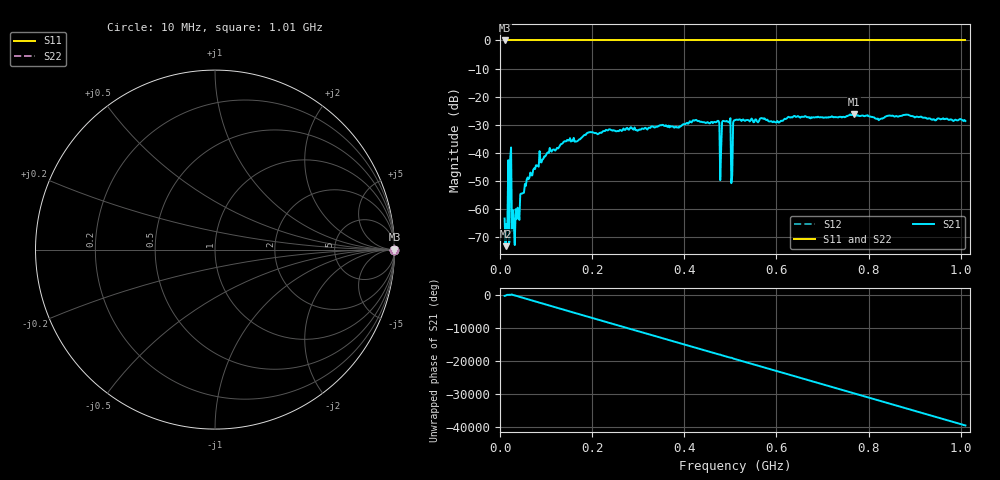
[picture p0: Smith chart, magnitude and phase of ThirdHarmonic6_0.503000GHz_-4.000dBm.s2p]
! 8/15/2025 3:09:25 PM
! C:\ANRITSUVNA\TEMP\TEMP.S2P
! CHANNEL.1
! TR.MEASUREMENT
! RAW.DATA
! RF.CORRECTION.OFF
! AVERAGING.OFF
! IF.BANDWIDTH: 5KHZ
! SWEEPTYPE:  FREQ.SWEEP(Linear)
! Reference Plane Port Info
! PORT:  PORT1  PORT2
! DISTANCE:  0  m  0  m
! TIME:  0  s  0  s
! PHASE.OFFSET:  0  deg.  0  deg.
! LOSS:  0  dB  0  dB
! REF.LOSS:  0  dB  0  dB
! REF.FREQ:  0  Hz  0  Hz
! Power Info
! POWER:  -20  dBm  -20  dBm
! EFF.POWER:  -20  dBm  -20  dBm
! SOURCE.ATTEN:  0  dB  0  dB
! TEST.ATTEN:  0  dB  0  dB
# GHZ S RI R 50.0
! FREQ.GHZ  S11RE  S11IM  S21RE  S21IM  S12RE  S12IM  S22RE  S22IM
!; PortSelection: Port_12
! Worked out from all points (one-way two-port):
!   501 points, 10 MHz to 1.01 GHz, reference 50 ohm
!   highest |S21| = -26.22 dB at 768 MHz (marker M1); lowest = -73.1 dB at 12 MHz (marker M2)
!   lowest |S11| = 0.0 dB at 10 MHz (marker M3)
!   |S11| at or under -10 dB: nowhere
!   |S22| runs from 0.0 to 0.0 dB; largest |S21 - S12| = 1
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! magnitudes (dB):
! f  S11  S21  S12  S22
! 10 MHz  0.0  -63.3  0.0  0.0
! 12 MHz  0.0  -73.1  0.0  0.0
! 14 MHz  0.0  -65.2  0.0  0.0
! 16 MHz  0.0  -67.0  0.0  0.0
! 20 MHz  0.0  -71.9  0.0  0.0
! 26 MHz  0.0  -67.7  0.0  0.0
! 30 MHz  0.0  -65.0  0.0  0.0
! 58 MHz  0.0  -49.5  0.0  0.0
! 82 MHz  0.0  -44.6  0.0  0.0
! 178 MHz  0.0  -34.4  0.0  0.0
! 344 MHz  0.0  -30.4  0.0  0.0
! 472 MHz  0.0  -28.6  0.0  0.0
! 480 MHz  0.0  -38.1  0.0  0.0
! 486 MHz  0.0  -28.6  0.0  0.0
! 496 MHz  0.0  -28.9  0.0  0.0
! 500 MHz  0.0  -27.6  0.0  0.0
! 506 MHz  0.0  -29.0  0.0  0.0
! 510 MHz  0.0  -28.3  0.0  0.0
! 678 MHz  0.0  -27.4  0.0  0.0
! 768 MHz  0.0  -26.2  0.0  0.0
! 844 MHz  0.0  -26.7  0.0  0.0
! 1.01 GHz  0.0  -28.6  0.0  0.0
